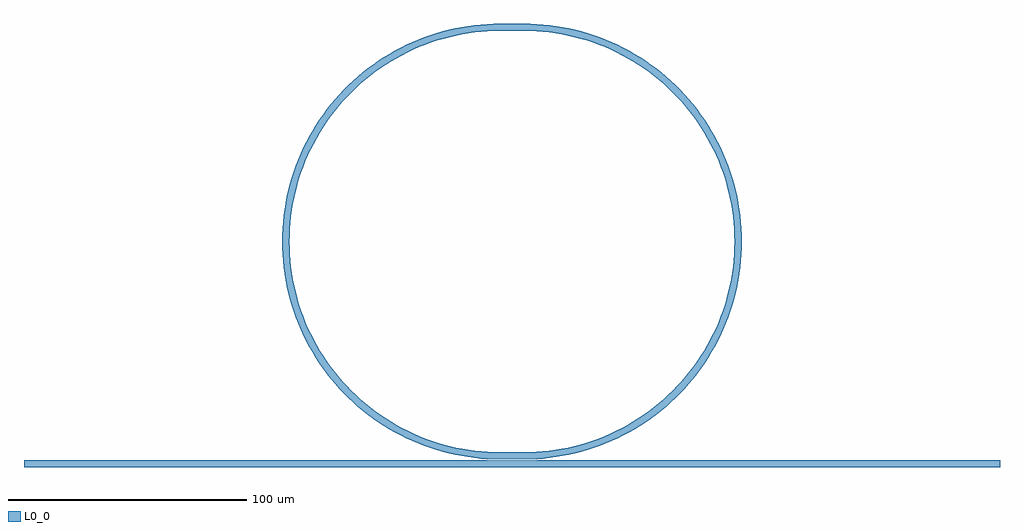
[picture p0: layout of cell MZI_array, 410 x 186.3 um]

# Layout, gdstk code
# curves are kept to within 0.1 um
import gdstk
lib = gdstk.Library(unit=1e-6, precision=1e-09)
def R(c, l, rs):  # rectangles x0, y0, x1, y1
    for r in rs: c.add(gdstk.rectangle(r[:2], r[2:], *l))
def P(c, l, *ps):  # polygons
    for p in ps: c.add(gdstk.Polygon(p, *l))
L0_0 = (0, 0)

mzi_array = lib.new_cell('MZI_array')
R(mzi_array, L0_0, [(0,-1.5,200,1.5), (200,-1.5,210,1.5), (210,-1.5,410,1.5), (200,1.8,210,4.8), (200,181.8,210,184.8)])
P(mzi_array, L0_0, [(210,1.8),(218.125,2.161),(223.51,2.803),(228.847,3.762),(236.723,5.789),(244.388,8.508),(251.782,11.896),(256.531,14.515),(261.116,17.409),(267.653,22.248),(273.734,27.648),(279.312,33.567),(284.343,39.957),(287.372,44.455),(290.13,49.125),(293.736,56.414),(295.774,61.44),(297.511,66.577),(299.538,74.453),(300.497,79.79),(301.139,85.175),(301.5,93.3),(298.5,93.3),(298.339,87.957),(297.855,82.633),(296.529,74.726),(294.493,66.971),(292.749,61.917),(290.703,56.978),(287.085,49.824),(282.834,43.026),(277.985,36.641),(272.579,30.721),(266.659,25.315),(260.274,20.466),(253.476,16.215),(246.322,12.597),(241.383,10.551),(236.329,8.807),(228.574,6.771),(220.667,5.445),(215.343,4.961),(210,4.8)],
  [(301.5,93.3),(301.139,101.425),(300.497,106.81),(299.538,112.147),(297.511,120.023),(294.792,127.688),(291.404,135.082),(288.785,139.831),(285.891,144.416),(281.052,150.953),(275.652,157.034),(269.733,162.612),(263.343,167.643),(258.845,170.672),(254.175,173.43),(246.886,177.036),(241.86,179.074),(236.723,180.811),(228.847,182.838),(223.51,183.797),(218.125,184.439),(210,184.8),(210,181.8),(215.343,181.639),(220.667,181.155),(228.574,179.829),(236.329,177.793),(241.383,176.049),(246.322,174.003),(253.476,170.385),(260.274,166.134),(266.659,161.285),(272.579,155.879),(277.985,149.959),(282.834,143.574),(287.085,136.776),(290.703,129.622),(292.749,124.683),(294.493,119.629),(296.529,111.874),(297.855,103.967),(298.339,98.643),(298.5,93.3)],
  [(200,184.8),(191.875,184.439),(186.49,183.797),(181.153,182.838),(173.277,180.811),(165.612,178.092),(158.218,174.704),(153.469,172.085),(148.884,169.191),(142.347,164.352),(136.266,158.952),(130.688,153.033),(125.657,146.643),(122.628,142.145),(119.87,137.475),(116.264,130.186),(114.226,125.16),(112.489,120.023),(110.462,112.147),(109.503,106.81),(108.861,101.425),(108.5,93.3),(111.5,93.3),(111.661,98.643),(112.145,103.967),(113.471,111.874),(115.507,119.629),(117.251,124.683),(119.297,129.622),(122.915,136.776),(127.166,143.574),(132.015,149.959),(137.421,155.879),(143.341,161.285),(149.726,166.134),(156.524,170.385),(163.678,174.003),(168.617,176.049),(173.671,177.793),(181.426,179.829),(189.333,181.155),(194.657,181.639),(200,181.8)],
  [(108.5,93.3),(108.861,85.175),(109.503,79.79),(110.462,74.453),(112.489,66.577),(115.208,58.912),(118.596,51.518),(121.215,46.769),(124.109,42.184),(128.948,35.647),(134.348,29.566),(140.267,23.988),(146.657,18.957),(151.155,15.928),(155.825,13.17),(163.114,9.564),(168.14,7.526),(173.277,5.789),(181.153,3.762),(186.49,2.803),(191.875,2.161),(200,1.8),(200,4.8),(194.657,4.961),(189.333,5.445),(181.426,6.771),(173.671,8.807),(168.617,10.551),(163.678,12.597),(156.524,16.215),(149.726,20.466),(143.341,25.315),(137.421,30.721),(132.015,36.641),(127.166,43.026),(122.915,49.824),(119.297,56.978),(117.251,61.917),(115.507,66.971),(113.471,74.726),(112.145,82.633),(111.661,87.957),(111.5,93.3)])

lib.write_gds('MZI_array.gds')
